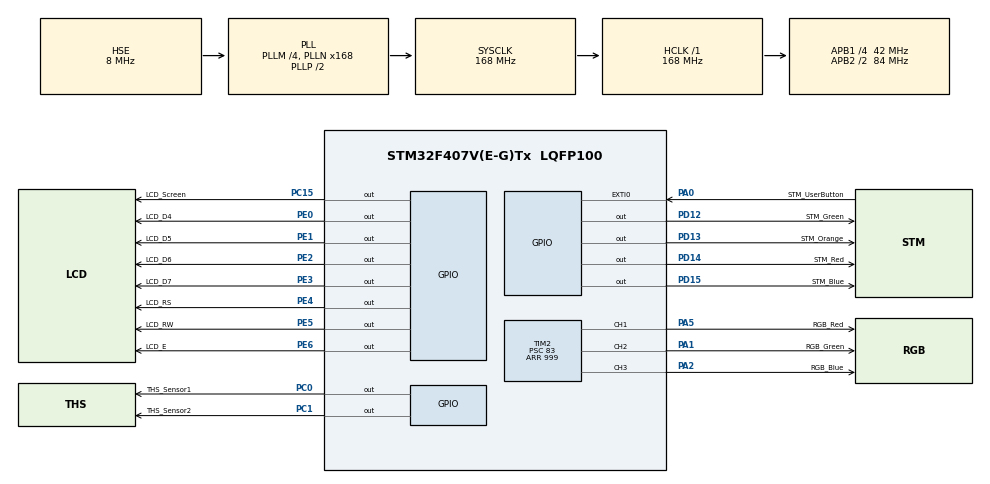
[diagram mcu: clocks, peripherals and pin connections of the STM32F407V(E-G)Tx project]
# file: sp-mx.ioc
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Mcu.Family=STM32F4
Mcu.Name=STM32F407V(E-G)Tx
Mcu.Package=LQFP100
NVIC.EXTI0_IRQn=true\:1\:0\:true\:false\:true\:true\:true
NVIC.PriorityGroup=NVIC_PRIORITYGROUP_4
NVIC.TIM2_IRQn=true\:2\:0\:true\:false\:true\:true\:true
NVIC.TIM3_IRQn=true\:3\:0\:true\:false\:true\:true\:true
PA0-WKUP.GPIO_Label=STM_UserButton
PA0-WKUP.GPIO_PuPd=GPIO_PULLDOWN
PA0-WKUP.Signal=GPXTI0
PA1.GPIO_Label=RGB_Green
PA1.Signal=S_TIM2_CH2
PA2.GPIO_Label=RGB_Blue
PA2.Signal=S_TIM2_CH3
PA5.GPIO_Label=RGB_Red
PA5.Signal=S_TIM2_CH1_ETR
PC0.GPIO_Label=THS_Sensor1
PC0.GPIO_PuPd=GPIO_PULLUP
PC0.Signal=GPIO_Output
PC1.GPIO_Label=THS_Sensor2
PC1.GPIO_PuPd=GPIO_PULLUP
PC1.Signal=GPIO_Output
PC15-OSC32_OUT.GPIO_Label=LCD_Screen
PC15-OSC32_OUT.GPIO_PuPd=GPIO_PULLDOWN
PC15-OSC32_OUT.Signal=GPIO_Output
PD12.GPIO_Label=STM_Green
PD12.Signal=GPIO_Output
PD13.GPIO_Label=STM_Orange
PD13.Signal=GPIO_Output
PD14.GPIO_Label=STM_Red
PD14.Signal=GPIO_Output
PD15.GPIO_Label=STM_Blue
PD15.Signal=GPIO_Output
PE0.GPIO_Label=LCD_D4
PE0.GPIO_PuPd=GPIO_PULLDOWN
PE0.Signal=GPIO_Output
PE1.GPIO_Label=LCD_D5
PE1.GPIO_PuPd=GPIO_PULLDOWN
PE1.Signal=GPIO_Output
PE2.GPIO_Label=LCD_D6
PE2.GPIO_PuPd=GPIO_PULLDOWN
PE2.Signal=GPIO_Output
PE3.GPIO_Label=LCD_D7
PE3.GPIO_PuPd=GPIO_PULLDOWN
PE3.Signal=GPIO_Output
PE4.GPIO_Label=LCD_RS
PE4.GPIO_PuPd=GPIO_PULLDOWN
PE4.Signal=GPIO_Output
PE5.GPIO_Label=LCD_RW
PE5.GPIO_PuPd=GPIO_PULLDOWN
PE5.Signal=GPIO_Output
PE6.GPIO_Label=LCD_E
PE6.GPIO_PuPd=GPIO_PULLDOWN
PE6.Signal=GPIO_Output
PH0-OSC_IN.Mode=HSE-External-Oscillator
PH0-OSC_IN.Signal=RCC_OSC_IN
PH1-OSC_OUT.Mode=HSE-External-Oscillator
PH1-OSC_OUT.Signal=RCC_OSC_OUT
ProjectManager.HeapSize=0x200
ProjectManager.StackSize=0x400
ProjectManager.TargetToolchain=Other Toolchains (GPDSC)
RCC.48MHZClocksFreq_Value=84000000
RCC.AHBFreq_Value=168000000
RCC.APB1CLKDivider=RCC_HCLK_DIV4
RCC.APB1Freq_Value=42000000
RCC.APB1TimFreq_Value=84000000
RCC.APB2CLKDivider=RCC_HCLK_DIV2
RCC.APB2Freq_Value=84000000
RCC.APB2TimFreq_Value=168000000
RCC.CortexFreq_Value=168000000
RCC.HCLKFreq_Value=168000000
RCC.HSE_VALUE=8000000
RCC.HSI_VALUE=16000000
RCC.LSE_VALUE=32768
RCC.PLLM=4
RCC.PLLN=168
RCC.PLLSourceVirtual=RCC_PLLSOURCE_HSE
RCC.SYSCLKFreq_VALUE=168000000
RCC.SYSCLKSource=RCC_SYSCLKSOURCE_PLLCLK
RCC.VCOOutputFreq_Value=336000000
SH.S_TIM2_CH1_ETR.0=TIM2_CH1,PWM Generation1 CH1
SH.S_TIM2_CH2.0=TIM2_CH2,PWM Generation2 CH2
SH.S_TIM2_CH3.0=TIM2_CH3,PWM Generation3 CH3
TIM2.Channel-PWM\ Generation1\ CH1=TIM_CHANNEL_1
TIM2.Channel-PWM\ Generation2\ CH2=TIM_CHANNEL_2
TIM2.Channel-PWM\ Generation3\ CH3=TIM_CHANNEL_3
TIM2.Period=999
TIM2.Prescaler=83
TIM3.Period=59999
TIM3.Prescaler=41999
TIM4.Period=0xFFFF-1
TIM4.Prescaler=84-1
VP_TIM2_VS_ClockSourceINT.Mode=Internal
VP_TIM3_VS_ClockSourceINT.Mode=Internal
VP_TIM4_VS_ClockSourceINT.Mode=Internal
board=custom

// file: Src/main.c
/* USER CODE BEGIN Header */
/**
  ******************************************************************************
  * @file           : main.c
  * @brief          : Main program body
  ******************************************************************************
  * @attention
  *
  * <h2><center>&copy; Copyright (c) 2020 STMicroelectronics.
  * All rights reserved.</center></h2>
  *
  * This software component is licensed by ST under BSD 3-Clause license,
  * the "License"; You may not use this file except in compliance with the
  * License. You may obtain a copy of the License at:
  *                        opensource.org/licenses/BSD-3-Clause
  *
  ******************************************************************************
  */
/* USER CODE END Header */

#include "main.h"

/* USER CODE BEGIN Includes */
#include "SP_RGB.h"
#include "SP_LCD.h"
#include "SP_THS.h"
/* USER CODE END Includes */

TIM_HandleTypeDef htim2;
TIM_HandleTypeDef htim3;
TIM_HandleTypeDef htim4;

/* USER CODE BEGIN PV */
uint8_t _led = 0;
/* USER CODE END PV */

void SystemClock_Config(void);
static void MX_GPIO_Init(void);
static void MX_TIM2_Init(void);
static void MX_TIM3_Init(void);
static void MX_TIM4_Init(void);
/* USER CODE BEGIN PFP */
void HAL_TIM_PeriodElapsedCallback(TIM_HandleTypeDef* htim);
void HAL_TIM_PeriodElapsedCallback(TIM_HandleTypeDef* htim);
/* USER CODE END PFP */

int main(void)
{

	/* MCU Configuration--------------------------------------------------------*/

	/* Reset of all peripherals, Initializes the Flash interface and the Systick. */
	HAL_Init();

	/* Configure the system clock */
	SystemClock_Config();

	/* Initialize all configured peripherals */
	MX_GPIO_Init();
	MX_TIM2_Init();
	MX_TIM3_Init();
	MX_TIM4_Init();
	/* USER CODE BEGIN 2 */
	RGB_Init();
	LCD_Init();
	THS_Init(&htim4);

	HAL_TIM_Base_Start_IT(&htim2); /* RGB Tim Init */
	HAL_TIM_PWM_Start(&htim2, TIM_CHANNEL_1);
	HAL_TIM_PWM_Start(&htim2, TIM_CHANNEL_2);
	HAL_TIM_PWM_Start(&htim2, TIM_CHANNEL_3);

	HAL_TIM_Base_Start_IT(&htim3); /* System Update Tim Init */
	HAL_TIM_Base_Start(&htim4);

	/* USER CODE END 2 */

	/* Infinite loop */
	/* USER CODE BEGIN WHILE */
	int i = 0;
	LCD_ClearScreen();
	while (1)
	{
		LCD_SetCursor(0, 0);
		HAL_GPIO_WritePin(GPIOD, GPIO_PIN_12, 1);

		THS_InitConn(THS_In);
		uint16_t wyn1 = THS_ReadByte(THS_In);
		uint8_t wyn2 = THS_ReadByte(THS_In);
		uint16_t wyn3 = THS_ReadByte(THS_In);
		uint8_t wyn4 = THS_ReadByte(THS_In);
		uint8_t wyn5 = THS_ReadByte(THS_In);

		float rh = (float)((wyn1 << 8) | wyn2)/1000.f;
		float temp = (float)((wyn3 << 8) | wyn4)/1000.f;

		uint8_t ccr = wyn1 | wyn2 | wyn3 | wyn4;

		LCD_Printf("R%d-%d %d", (int)rh, (uint8_t)wyn1, wyn2);
		LCD_NextLine();
		LCD_Printf("T%d-%d %d", (int)temp, (uint8_t)wyn3, wyn4);

		HAL_GPIO_WritePin(GPIOD, GPIO_PIN_12, 0);
		HAL_Delay(2000);
		/* USER CODE END WHILE */

	}
}

void SystemClock_Config(void)
{
	RCC_OscInitTypeDef RCC_OscInitStruct = { 0 };
	RCC_ClkInitTypeDef RCC_ClkInitStruct = { 0 };

	/** Configure the main internal regulator output voltage
	*/
	__HAL_RCC_PWR_CLK_ENABLE();
	__HAL_PWR_VOLTAGESCALING_CONFIG(PWR_REGULATOR_VOLTAGE_SCALE1);
	/** Initializes the CPU, AHB and APB busses clocks
	*/
	RCC_OscInitStruct.OscillatorType = RCC_OSCILLATORTYPE_HSE;
	RCC_OscInitStruct.HSEState = RCC_HSE_ON;
	RCC_OscInitStruct.PLL.PLLState = RCC_PLL_ON;
	RCC_OscInitStruct.PLL.PLLSource = RCC_PLLSOURCE_HSE;
	RCC_OscInitStruct.PLL.PLLM = 4;
	RCC_OscInitStruct.PLL.PLLN = 168;
	RCC_OscInitStruct.PLL.PLLP = RCC_PLLP_DIV2;
	RCC_OscInitStruct.PLL.PLLQ = 4;
	if (HAL_RCC_OscConfig(&RCC_OscInitStruct) != HAL_OK)
	{
		Error_Handler();
	}
	/** Initializes the CPU, AHB and APB busses clocks
	*/
	RCC_ClkInitStruct.ClockType = RCC_CLOCKTYPE_HCLK | RCC_CLOCKTYPE_SYSCLK
	                            | RCC_CLOCKTYPE_PCLK1 | RCC_CLOCKTYPE_PCLK2;
	RCC_ClkInitStruct.SYSCLKSource = RCC_SYSCLKSOURCE_PLLCLK;
	RCC_ClkInitStruct.AHBCLKDivider = RCC_SYSCLK_DIV1;
	RCC_ClkInitStruct.APB1CLKDivider = RCC_HCLK_DIV4;
	RCC_ClkInitStruct.APB2CLKDivider = RCC_HCLK_DIV2;

	if (HAL_RCC_ClockConfig(&RCC_ClkInitStruct, FLASH_LATENCY_5) != HAL_OK)
	{
		Error_Handler();
	}
}

static void MX_TIM2_Init(void)
{

	TIM_ClockConfigTypeDef sClockSourceConfig = { 0 };
	TIM_MasterConfigTypeDef sMasterConfig = { 0 };
	TIM_OC_InitTypeDef sConfigOC = { 0 };

	htim2.Instance = TIM2;
	htim2.Init.Prescaler = 83;
	htim2.Init.CounterMode = TIM_COUNTERMODE_UP;
	htim2.Init.Period = 999;
	htim2.Init.ClockDivision = TIM_CLOCKDIVISION_DIV1;
	htim2.Init.AutoReloadPreload = TIM_AUTORELOAD_PRELOAD_DISABLE;
	if (HAL_TIM_Base_Init(&htim2) != HAL_OK)
	{
		Error_Handler();
	}
	sClockSourceConfig.ClockSource = TIM_CLOCKSOURCE_INTERNAL;
	if (HAL_TIM_ConfigClockSource(&htim2, &sClockSourceConfig) != HAL_OK)
	{
		Error_Handler();
	}
	if (HAL_TIM_PWM_Init(&htim2) != HAL_OK)
	{
		Error_Handler();
	}
	sMasterConfig.MasterOutputTrigger = TIM_TRGO_RESET;
	sMasterConfig.MasterSlaveMode = TIM_MASTERSLAVEMODE_DISABLE;
	if (HAL_TIMEx_MasterConfigSynchronization(&htim2, &sMasterConfig) != HAL_OK)
	{
		Error_Handler();
	}
	sConfigOC.OCMode = TIM_OCMODE_PWM1;
	sConfigOC.Pulse = 0;
	sConfigOC.OCPolarity = TIM_OCPOLARITY_HIGH;
	sConfigOC.OCFastMode = TIM_OCFAST_DISABLE;
	if (HAL_TIM_PWM_ConfigChannel(&htim2, &sConfigOC, TIM_CHANNEL_1) != HAL_OK)
	{
		Error_Handler();
	}
	if (HAL_TIM_PWM_ConfigChannel(&htim2, &sConfigOC, TIM_CHANNEL_2) != HAL_OK)
	{
		Error_Handler();
	}
	if (HAL_TIM_PWM_ConfigChannel(&htim2, &sConfigOC, TIM_CHANNEL_3) != HAL_OK)
	{
		Error_Handler();
	}
	HAL_TIM_MspPostInit(&htim2);

}

static void MX_TIM3_Init(void)
{

	TIM_ClockConfigTypeDef sClockSourceConfig = { 0 };
	TIM_MasterConfigTypeDef sMasterConfig = { 0 };

	htim3.Instance = TIM3;
	htim3.Init.Prescaler = 41999;
	htim3.Init.CounterMode = TIM_COUNTERMODE_UP;
	htim3.Init.Period = 59999;
	htim3.Init.ClockDivision = TIM_CLOCKDIVISION_DIV1;
	htim3.Init.AutoReloadPreload = TIM_AUTORELOAD_PRELOAD_DISABLE;
	if (HAL_TIM_Base_Init(&htim3) != HAL_OK)
	{
		Error_Handler();
	}
	sClockSourceConfig.ClockSource = TIM_CLOCKSOURCE_INTERNAL;
	if (HAL_TIM_ConfigClockSource(&htim3, &sClockSourceConfig) != HAL_OK)
	{
		Error_Handler();
	}
	sMasterConfig.MasterOutputTrigger = TIM_TRGO_RESET;
	sMasterConfig.MasterSlaveMode = TIM_MASTERSLAVEMODE_DISABLE;
	if (HAL_TIMEx_MasterConfigSynchronization(&htim3, &sMasterConfig) != HAL_OK)
	{
		Error_Handler();
	}

}

static void MX_TIM4_Init(void)
{

	TIM_ClockConfigTypeDef sClockSourceConfig = { 0 };
	TIM_MasterConfigTypeDef sMasterConfig = { 0 };

	htim4.Instance = TIM4;
	htim4.Init.Prescaler = 84 - 1;
	htim4.Init.CounterMode = TIM_COUNTERMODE_UP;
	htim4.Init.Period = 0xFFFF - 1;
	htim4.Init.ClockDivision = TIM_CLOCKDIVISION_DIV1;
	htim4.Init.AutoReloadPreload = TIM_AUTORELOAD_PRELOAD_DISABLE;
	if (HAL_TIM_Base_Init(&htim4) != HAL_OK)
	{
		Error_Handler();
	}
	sClockSourceConfig.ClockSource = TIM_CLOCKSOURCE_INTERNAL;
	if (HAL_TIM_ConfigClockSource(&htim4, &sClockSourceConfig) != HAL_OK)
	{
		Error_Handler();
	}
	sMasterConfig.MasterOutputTrigger = TIM_TRGO_RESET;
	sMasterConfig.MasterSlaveMode = TIM_MASTERSLAVEMODE_DISABLE;
	if (HAL_TIMEx_MasterConfigSynchronization(&htim4, &sMasterConfig) != HAL_OK)
	{
		Error_Handler();
	}

}

static void MX_GPIO_Init(void)
{
	GPIO_InitTypeDef GPIO_InitStruct = { 0 };

	/* GPIO Ports Clock Enable */
	__HAL_RCC_GPIOE_CLK_ENABLE();
	__HAL_RCC_GPIOC_CLK_ENABLE();
	__HAL_RCC_GPIOH_CLK_ENABLE();
	__HAL_RCC_GPIOA_CLK_ENABLE();
	__HAL_RCC_GPIOD_CLK_ENABLE();

	/*Configure GPIO pin Output Level */
	HAL_GPIO_WritePin(GPIOE,
		LCD_D6_Pin|LCD_D7_Pin|LCD_RS_Pin|LCD_RW_Pin
	                        |LCD_E_Pin|LCD_D4_Pin|LCD_D5_Pin,
		GPIO_PIN_RESET);

	/*Configure GPIO pin Output Level */
	HAL_GPIO_WritePin(GPIOC, LCD_Screen_Pin | THS_Sensor1_Pin | THS_Sensor2_Pin, GPIO_PIN_RESET);

	/*Configure GPIO pin Output Level */
	HAL_GPIO_WritePin(GPIOD, STM_Green_Pin | STM_Orange_Pin | STM_Red_Pin | STM_Blue_Pin, GPIO_PIN_RESET);

	/*Configure GPIO pins : LCD_D6_Pin LCD_D7_Pin LCD_RS_Pin LCD_RW_Pin
	                         LCD_E_Pin LCD_D4_Pin LCD_D5_Pin */
	GPIO_InitStruct.Pin = LCD_D6_Pin | LCD_D7_Pin | LCD_RS_Pin | LCD_RW_Pin
	                        | LCD_E_Pin | LCD_D4_Pin | LCD_D5_Pin;
	GPIO_InitStruct.Mode = GPIO_MODE_OUTPUT_PP;
	GPIO_InitStruct.Pull = GPIO_PULLDOWN;
	GPIO_InitStruct.Speed = GPIO_SPEED_FREQ_LOW;
	HAL_GPIO_Init(GPIOE, &GPIO_InitStruct);

	/*Configure GPIO pin : LCD_Screen_Pin */
	GPIO_InitStruct.Pin = LCD_Screen_Pin;
	GPIO_InitStruct.Mode = GPIO_MODE_OUTPUT_PP;
	GPIO_InitStruct.Pull = GPIO_PULLDOWN;
	GPIO_InitStruct.Speed = GPIO_SPEED_FREQ_LOW;
	HAL_GPIO_Init(LCD_Screen_GPIO_Port, &GPIO_InitStruct);

	/*Configure GPIO pins : THS_Sensor1_Pin THS_Sensor2_Pin */
	GPIO_InitStruct.Pin = THS_Sensor1_Pin | THS_Sensor2_Pin;
	GPIO_InitStruct.Mode = GPIO_MODE_OUTPUT_PP;
	GPIO_InitStruct.Pull = GPIO_PULLUP;
	GPIO_InitStruct.Speed = GPIO_SPEED_FREQ_LOW;
	HAL_GPIO_Init(GPIOC, &GPIO_InitStruct);

	/*Configure GPIO pin : STM_UserButton_Pin */
	GPIO_InitStruct.Pin = STM_UserButton_Pin;
	GPIO_InitStruct.Mode = GPIO_MODE_IT_RISING;
	GPIO_InitStruct.Pull = GPIO_PULLDOWN;
	HAL_GPIO_Init(STM_UserButton_GPIO_Port, &GPIO_InitStruct);

	/*Configure GPIO pins : STM_Green_Pin STM_Orange_Pin STM_Red_Pin STM_Blue_Pin */
	GPIO_InitStruct.Pin = STM_Green_Pin | STM_Orange_Pin | STM_Red_Pin | STM_Blue_Pin;
	GPIO_InitStruct.Mode = GPIO_MODE_OUTPUT_PP;
	GPIO_InitStruct.Pull = GPIO_NOPULL;
	GPIO_InitStruct.Speed = GPIO_SPEED_FREQ_LOW;
	HAL_GPIO_Init(GPIOD, &GPIO_InitStruct);

	/* EXTI interrupt init*/
	HAL_NVIC_SetPriority(EXTI0_IRQn, 1, 0);
	HAL_NVIC_EnableIRQ(EXTI0_IRQn);

}

/* USER CODE BEGIN 4 */
/* SP Callback Definitions */
void HAL_TIM_PeriodElapsedCallback(TIM_HandleTypeDef *htim)
{
	if (htim->Instance == TIM2)
	{
		_RGB_Test(_led);
	}
	else if (htim->Instance == TIM3)
	{

	}
}

void HAL_GPIO_EXTI_Callback(uint16_t GPIO_Pin)
{
	if (GPIO_Pin == GPIO_PIN_0)
	{
		if (HAL_GPIO_ReadPin(GPIOA, GPIO_PIN_0) == GPIO_PIN_SET) /* Handle user button event */
		{
			LCD_ToggleBackgroundLED();

			HAL_GPIO_TogglePin(GPIOD, GPIO_PIN_15);
			++_led;
			if (_led > 9) _led = 0;

			LCD_Print("KURWAAAAA");
		}
	}
}
/* USER CODE END 4 */

void Error_Handler(void)
{
}

/************************ (C) COPYRIGHT STMicroelectronics *****END OF FILE****/
